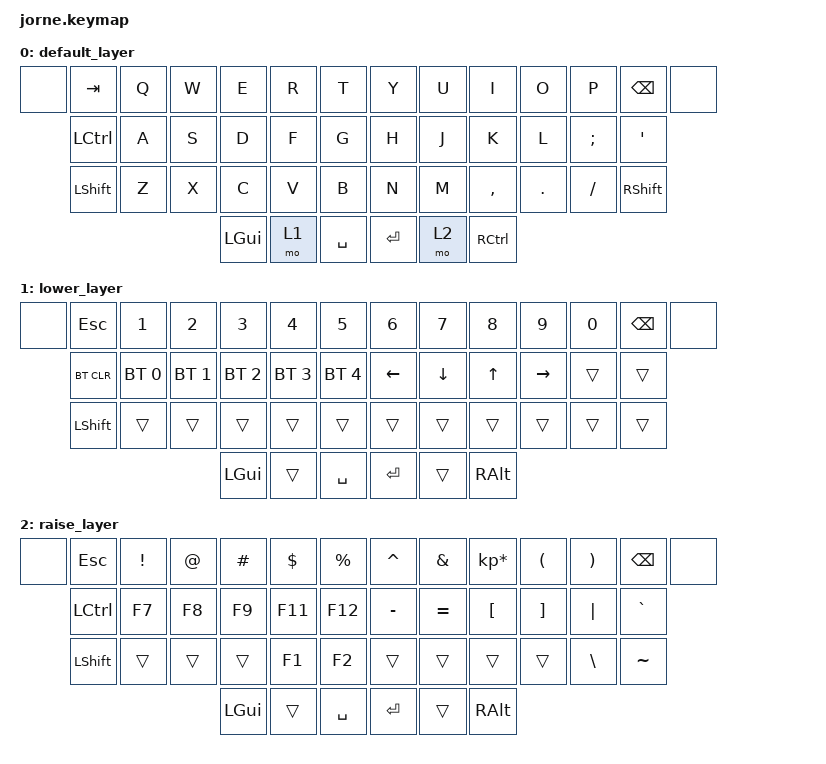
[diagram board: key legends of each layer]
/*
 * Copyright (c) 2020 The ZMK Contributors
 *
 * SPDX-License-Identifier: MIT
 */

#include <behaviors.dtsi>
#include <dt-bindings/zmk/bt.h>
#include <dt-bindings/zmk/keys.h>

/ {
    keymap {
        compatible = "zmk,keymap";

        default_layer {
            // -----------------------------------------------------------------------------------------
            // |  TAB |  Q  |  W  |  E  |  R  |  T  |   |  Y  |  U   |  I  |  O  |  P  | BKSP |
            // | CTRL |  A  |  S  |  D  |  F  |  G  |   |  H  |  J   |  K  |  L  |  ;  |  '   |
            // | SHFT |  Z  |  X  |  C  |  V  |  B  |   |  N  |  M   |  ,  |  .  |  /  | SHFT |
            //                    | GUI | LWR | SPC |   | ENT | RSE  | ALT |

            bindings = <
&none  &kp TAB    &kp Q  &kp W  &kp E     &kp R  &kp T      &kp Y    &kp U  &kp I              &kp O    &kp P     &kp BSPC   &none
       &kp LCTRL  &kp A  &kp S  &kp D     &kp F  &kp G      &kp H    &kp J  &kp K              &kp L    &kp SEMI  &kp SQT
       &kp LSHFT  &kp Z  &kp X  &kp C     &kp V  &kp B      &kp N    &kp M  &kp COMMA          &kp DOT  &kp FSLH  &kp RSHFT
                                &kp LGUI  &mo 1  &kp SPACE  &kp RET  &mo 2  &kp RIGHT_CONTROL
            >;
        };

        lower_layer {
            // -----------------------------------------------------------------------------------------
            // |  ESC |  1  |  2  |  3  |  4  |  5  |   |  6  |  7  |  8  |  9  |  0  | BKSP |
            // | BTCLR| BT1 | BT2 | BT3 | BT4 | BT5 |   | LFT | DWN |  UP | RGT |     |      |
            // | SHFT |     |     |     |     |     |   |     |     |     |     |     |      |
            //                    | GUI |     | SPC |   | ENT |     | ALT |

            bindings = <
&none  &kp ESC     &kp N1        &kp N2        &kp N3        &kp N4        &kp N5        &kp N6    &kp N7    &kp N8    &kp N9     &kp N0  &kp BSPC  &none
       &bt BT_CLR  &bt BT_SEL 0  &bt BT_SEL 1  &bt BT_SEL 2  &bt BT_SEL 3  &bt BT_SEL 4  &kp LEFT  &kp DOWN  &kp UP    &kp RIGHT  &trans  &trans
       &kp LSHFT   &trans        &trans        &trans        &trans        &trans        &trans    &trans    &trans    &trans     &trans  &trans
                                               &kp LGUI      &trans        &kp SPACE     &kp RET   &trans    &kp RALT
            >;
        };

        raise_layer {
            // -----------------------------------------------------------------------------------------
            // |  ESC |  !  |  @  |  #  |  $  |  %  |   |  ^  |  &  |  *  |  (  |  )  | BKSP |
            // | CTRL |     |     |     |     |     |   |  -  |  =  |  {  |  }  | "|" |  `   |
            // | SHFT |     |     |     |     |     |   |  _  |  +  |  [  |  ]  |  \  |  ~   | // TODO: Fix this row when &mkp is committed
            //                    | GUI |     | SPC |   | ENT |     | ALT |

            bindings = <
&none  &kp ESC    &kp EXCL  &kp AT  &kp HASH  &kp DLLR  &kp PRCNT  &kp CARET  &kp AMPS   &kp KP_MULTIPLY  &kp LPAR  &kp RPAR  &kp BSPC   &none
       &kp LCTRL  &kp F7    &kp F8  &kp F9    &kp F11   &kp F12    &kp MINUS  &kp EQUAL  &kp LBKT         &kp RBKT  &kp PIPE  &kp GRAVE
       &kp LSHFT  &trans    &trans  &trans    &kp F1    &kp F2     &trans     &trans     &trans           &trans    &kp BSLH  &kp TILDE
                                    &kp LGUI  &trans    &kp SPACE  &kp RET    &trans     &kp RALT
            >;
        };
    };
};
